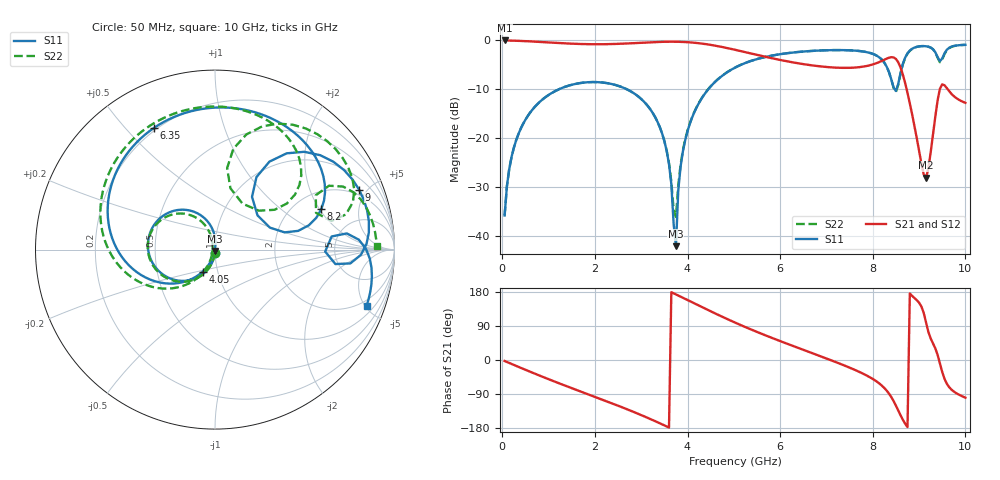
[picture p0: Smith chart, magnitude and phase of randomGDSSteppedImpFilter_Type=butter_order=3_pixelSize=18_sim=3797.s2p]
! freq	dB(S11)	phase(S11)	dB(S12)	phase(S12)
!  dB(S21)	phase(S21)	dB(S22)	phase(S22)
!S-par simulation data
#  GHz  S  DB  R 50
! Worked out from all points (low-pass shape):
!   200 points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, 50 MHz to 10 GHz, reference 50 ohm
!   highest |S21| = 0.00 dB at 50 MHz (marker M1); lowest = -28.1 dB at 9.15 GHz (marker M2)
!   |S21| within 3 dB of the highest: start of sweep to 5.523 GHz
!   lowest |S11| = -42.1 dB at 3.75 GHz (marker M3), VSWR 1.02, Z = 49.8 - j0.765 ohm
!   |S11| at or under -10 dB: start of sweep to 1.219 GHz; 2.693 GHz to 4.446 GHz (1.754 GHz wide, 49.1 % of centre); 8.475678 GHz to 8.511766 GHz (36.09 MHz wide, 0.425 % of centre)
!   |S22| runs from -36.1 to -0.9 dB; largest |S21 - S12| = 0
!   S11 on the Smith chart (normalised r, x): 50 MHz: 1.00, -0.03; 4.05 GHz: 0.85, -0.21; 6.35 GHz: 0.19, +0.60; 8.2 GHz: 2.76, +2.07; 9 GHz: 1.62, +4.44; 10 GHz: 1.52, -5.10
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0.05  -35.79 -92.6  -0.00 -2.6  -0.00 -2.6  -35.78 -92.5
0.2  -23.82 -101.0  -0.04 -10.5  -0.04 -10.5  -23.82 -100.6
0.5  -16.20 -116.9  -0.14 -25.9  -0.14 -25.9  -16.20 -116.0
1.75  -8.63 -178.0  -0.74 -85.8  -0.74 -85.8  -8.63 -174.7
2.6  -9.61 141.6  -0.66 -125.4  -0.66 -125.4  -9.61 147.1
3.4  -17.70 99.5  -0.30 -166.8  -0.30 -166.8  -17.69 110.4
3.6  -25.29 88.2  -0.26 -178.2  -0.26 -178.2  -25.13 107.4
3.75  -42.06 -103.2  -0.27 173.1  -0.27 173.1  -36.08 -152.0
3.85  -25.80 -107.3  -0.29 167.2  -0.29 167.2  -25.41 -114.9
4.05  -17.02 -119.2  -0.39 155.3  -0.39 155.3  -16.94 -117.5
5.05  -5.44 -178.1  -1.96 97.4  -1.96 97.4  -5.43 -169.3
6.35  -2.40 116.6  -4.61 33.7  -4.61 33.7  -2.39 130.6
6.7  -2.14 100.1  -5.11 17.7  -5.11 17.7  -2.13 115.5
7.55  -2.04 59.2  -5.58 -22.7  -5.58 -22.7  -2.03 77.6
8.2  -3.97 20.8  -4.17 -68.1  -4.17 -68.1  -3.95 40.8
8.35  -6.47 12.7  -3.53 -88.6  -3.53 -88.6  -6.46 32.7
8.5  -10.34 38.9  -3.79 -120.4  -3.79 -120.4  -10.50 59.1
8.6  -6.64 60.2  -5.54 -145.9  -5.54 -145.9  -6.76 81.5
9  -1.21 22.6  -22.55 151.2  -22.55 151.2  -1.22 44.1
9.15  -1.19 10.3  -28.08 99.1  -28.08 99.1  -1.19 31.8
9.5  -3.68 6.4  -8.97 -31.8  -8.97 -31.8  -3.90 28.3
10  -0.90 -20.5  -12.76 -99.4  -12.76 -99.4  -0.90 1.2
